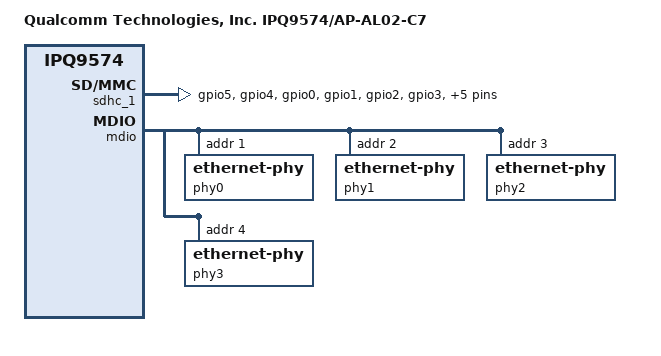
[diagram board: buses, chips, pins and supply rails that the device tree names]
// SPDX-License-Identifier: (GPL-2.0+ OR BSD-3-Clause)
/*
 * IPQ9574 AL02-C7 board device tree source
 *
 * Copyright (c) 2020-2021, The Linux Foundation. All rights reserved.
 * Copyright (c) 2022 Qualcomm Innovation Center, Inc. All rights reserved.
 */

/dts-v1/;

#include "ipq9574-al02-c4.dts"

/ {
	#address-cells = <0x2>;
	#size-cells = <0x2>;
	model = "Qualcomm Technologies, Inc. IPQ9574/AP-AL02-C7";
	compatible = "qcom,ipq9574-ap-al02-c7", "qcom,ipq9574-al07", "qcom,ipq9574";
	interrupt-parent = <&intc>;

	soc {
		pinctrl@1000000 {
			emmc_pins: emmc_pins {
				emmc_clk {
					pins = "gpio5";
					function = "sdc_clk";
					drive-strength = <8>;
					bias-disable;
				};
				emmc_cmd {
					pins = "gpio4";
					function = "sdc_cmd";
					drive-strength = <8>;
					bias-pull-up;
				};
				emmc_data {
					pins = "gpio0", "gpio1", "gpio2",
						"gpio3", "gpio6", "gpio7",
						"gpio8", "gpio9";
					function = "sdc_data";
					drive-strength = <8>;
					bias-pull-up;
				};
				emmc_rclk {
					pins = "gpio10";
					function = "sdc_rclk";
					drive-strength = <8>;
					bias-pull-down;
				};
			};
		};

		qpic_bam: dma@7984000 {
			status = "disabled";
		};

		qpic_nand: nand@79b0000 {
			status = "disabled";
		};

		blsp1_uart3: serial@78b2000 {
			status = "disabled";
		 };

		sdcc1_ice: sdcc1ice@7808000 {
			status = "ok";
		};

		sdhc_1: sdhci@7804000 {
			status = "ok";
			pinctrl-0 = <&emmc_pins>;
			pinctrl-names = "default";
		};

		dp1 {
			reg = <0x3a500000 0x4000>;
			qcom,mactype = <1>;
			qcom,phy-mdio-addr = <1>;
		};

		dp2 {
			reg = <0x3a504000 0x4000>;
			qcom,mactype = <1>;
			qcom,phy-mdio-addr = <2>;
		};

		dp3 {
			reg = <0x3a508000 0x4000>;
			qcom,mactype = <1>;
			qcom,phy-mdio-addr = <3>;
		};

		dp4 {
			reg = <0x3a50c000 0x4000>;
			qcom,mactype = <1>;
			qcom,phy-mdio-addr = <4>;
		};

		mdio:mdio@90000 {
			/*gpio60 for manhattan reset*/
			phy-reset-gpio = <&tlmm 60 0>;
			phyaddr_fixup = <0xC90F018>;
			uniphyaddr_fixup = <0xC90F014>;
			mdio_clk_fixup; /* MDIO clock sequence fix up flag */

			phy0: ethernet-phy@0 {
				reg = <1>;
				fixup;
			};
			phy1: ethernet-phy@1 {
				reg = <2>;
				fixup;
			};
			phy2: ethernet-phy@2 {
				reg = <3>;
				fixup;
			};
			 phy3: ethernet-phy@3 {
				reg = <4>;
				fixup;
			};
		};

		ess-instance {
			num_devices = <0x1>;
			ess-switch@3a000000 {
				switch_mac_mode = <0x15>; /* mac mode for uniphy instance0*/
				bm_tick_mode = <1>; /* bm tick mode */
				tm_tick_mode = <1>; /* tm tick mode */
				qcom,port_phyinfo {
					port@0 {
						phy_address = <1>;
					};
					port@1 {
						phy_address = <2>;
					};
					port@2 {
						phy_address = <3>;
					};
					port@3 {
						phy_address = <4>;
					};
				};

				led_source@0 {
					source = <0>;
					mode = "normal";
					speed = "all";
					blink_en = "enable";
					active = "high";
				};
				led_source@3 {
					source = <3>;
					mode = "normal";
					speed = "all";
					blink_en = "enable";
					active = "high";
				};
				led_source@6 {
					source = <6>;
					mode = "normal";
					speed = "all";
					blink_en = "enable";
					active = "high";
				};
				led_source@9 {
					source = <9>;
					mode = "normal";
					speed = "all";
					blink_en = "enable";
					active = "high";
				};
			};
		};

		nss-macsec0 {
			compatible = "qcom,nss-macsec";
			phy_addr = <0x1>;
			mdiobus = <&mdio>;
		};
		nss-macsec1 {
			compatible = "qcom,nss-macsec";
			phy_addr = <0x2>;
			mdiobus = <&mdio>;
		};
		nss-macsec2 {
			compatible = "qcom,nss-macsec";
			phy_addr = <0x3>;
			mdiobus = <&mdio>;
		};
		nss-macsec3 {
			compatible = "qcom,nss-macsec";
			phy_addr = <0x4>;
			mdiobus = <&mdio>;
		};

	};
};
